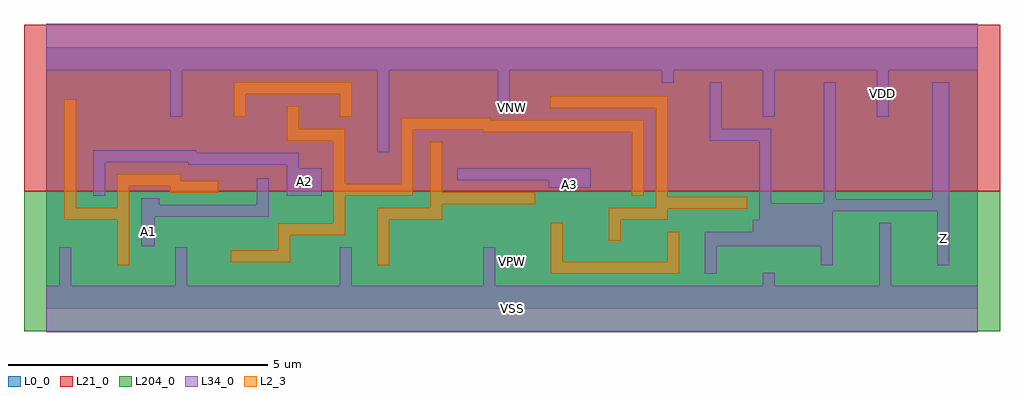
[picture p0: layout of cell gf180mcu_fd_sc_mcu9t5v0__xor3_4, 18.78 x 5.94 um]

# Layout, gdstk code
import gdstk
lib = gdstk.Library(unit=1e-6, precision=1e-09)
def R(c, l, rs):  # rectangles x0, y0, x1, y1
    for r in rs: c.add(gdstk.rectangle(r[:2], r[2:], *l))
L0_0 = (0, 0)
L2_3 = (2, 3)
L21_0 = (21, 0)
L34_0 = (34, 0)
L204_0 = (204, 0)

gf180mcu_fd_sc_mcu9t5v0_ = lib.new_cell('gf180mcu_fd_sc_mcu9t5v0__xor3_4')
R(gf180mcu_fd_sc_mcu9t5v0_, L0_0, [(0,0,17.92,5.04)])
R(gf180mcu_fd_sc_mcu9t5v0_, L2_3, [(9.705,0.68,12.175,0.91), (1.365,0.845,1.595,1.72), (6.365,0.845,6.595,1.72), (3.55,0.9,4.695,1.13), (9.705,0.91,9.935,1.655), (11.945,0.91,12.175,1.49), (4.465,1.13,4.695,1.415), (10.825,1.315,11.055,1.72), (4.465,1.415,5.755,1.645), (5.525,1.645,5.755,2.18), (0.345,1.72,1.595,1.95), (6.365,1.72,7.615,1.95), (10.825,1.72,11.955,1.93), (10.825,1.93,13.49,1.95), (0.345,1.95,0.575,4.035), (1.365,1.95,1.595,2.365), (7.385,1.95,7.615,2.015), (11.725,1.95,13.49,2.16), (7.385,2.015,9.41,2.245), (11.725,2.16,11.955,3.865), (5.525,2.18,7.055,2.41), (11.265,2.18,11.495,3.405), (2.38,2.235,3.31,2.365), (7.385,2.245,7.615,3.22), (1.365,2.365,3.31,2.465), (5.525,2.41,5.755,3.235), (6.825,2.41,7.055,3.45), (1.365,2.465,2.59,2.595), (4.625,3.235,5.755,3.465), (8.405,3.405,11.495,3.45), (6.825,3.45,11.495,3.635), (4.625,3.465,4.855,3.9), (6.825,3.635,8.545,3.68), (3.605,3.695,3.835,4.13), (5.645,3.695,5.875,4.13), (9.7,3.865,11.955,4.095), (3.605,4.13,5.875,4.36)])
R(gf180mcu_fd_sc_mcu9t5v0_, L21_0, [(-0.43,2.265,18.35,5.47)])
R(gf180mcu_fd_sc_mcu9t5v0_, L34_0, [(0,-0.45,17.92,0.45), (0.245,0.45,0.475,1.185), (2.485,0.45,2.715,1.185), (5.645,0.45,5.875,1.185), (8.405,0.45,8.635,1.185), (13.785,0.45,14.015,0.695), (16.025,0.45,16.255,1.655), (12.665,0.68,12.895,1.21), (14.905,0.845,15.135,1.21), (17.145,0.845,17.375,1.885), (1.83,1.21,2.09,1.775), (12.665,1.21,15.135,1.49), (13.59,1.49,15.135,1.72), (13.72,1.72,15.135,1.885), (1.83,1.775,4.275,2.005), (13.72,1.885,17.375,2.03), (1.83,2.005,2.17,2.135), (4.045,2.005,4.275,2.52), (13.72,2.03,13.95,3.235), (14.955,2.03,17.375,2.115), (14.955,2.115,15.185,4.36), (17.045,2.115,17.375,4.36), (0.905,2.18,1.135,2.825), (4.63,2.18,5.295,2.71), (9.67,2.33,10.48,2.475), (7.91,2.475,10.48,2.71), (4.63,2.71,4.86,2.775), (2.735,2.775,4.86,2.825), (0.905,2.825,4.86,3.005), (0.905,3.005,2.88,3.055), (6.365,3.015,6.595,4.59), (12.765,3.235,13.95,3.465), (12.765,3.465,12.995,4.36), (2.385,3.695,2.615,4.59), (13.785,3.695,14.015,4.59), (15.975,3.695,16.205,4.59), (8.685,3.865,8.915,4.59), (11.845,4.35,12.075,4.59), (0,4.59,17.92,5.49)])
R(gf180mcu_fd_sc_mcu9t5v0_, L204_0, [(-0.43,-0.43,18.35,2.265)])
gf180mcu_fd_sc_mcu9t5v0_.add(gdstk.Label('A1', (1.96,1.492), layer=34, texttype=10))
gf180mcu_fd_sc_mcu9t5v0_.add(gdstk.Label('A2', (4.962,2.445), layer=34, texttype=10))
gf180mcu_fd_sc_mcu9t5v0_.add(gdstk.Label('A3', (10.075,2.402), layer=34, texttype=10))
gf180mcu_fd_sc_mcu9t5v0_.add(gdstk.Label('Z', (17.26,1.365), layer=34, texttype=10))
gf180mcu_fd_sc_mcu9t5v0_.add(gdstk.Label('VDD', (16.09,4.142), layer=34, texttype=10))
gf180mcu_fd_sc_mcu9t5v0_.add(gdstk.Label('VSS', (8.96,0), layer=34, texttype=10))
gf180mcu_fd_sc_mcu9t5v0_.add(gdstk.Label('VNW', (8.96,3.867), layer=3, texttype=1))
gf180mcu_fd_sc_mcu9t5v0_.add(gdstk.Label('VPW', (8.96,0.917), layer=4, texttype=1))

lib.write_gds('gf180mcu_fd_sc_mcu9t5v0__xor3_4.gds')
